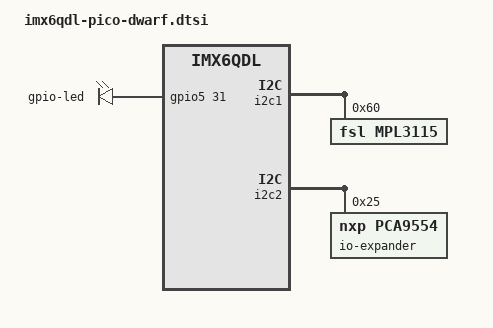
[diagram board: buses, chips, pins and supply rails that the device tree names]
// SPDX-License-Identifier: GPL-2.0+ OR MIT
//
// Copyright 2017 NXP

#include "imx6qdl-pico.dtsi"

/ {
	leds {
		compatible = "gpio-leds";
		pinctrl-names = "default";
		pinctrl-0 = <&pinctrl_gpio_leds>;

		led {
			label = "gpio-led";
			gpios = <&gpio5 31 GPIO_ACTIVE_HIGH>;
		};
	};

};

&i2c1 {
	mpl3115@60 {
		compatible = "fsl,mpl3115";
		reg = <0x60>;
	};
};

&i2c2 {
	io-expander@25 {
		compatible = "nxp,pca9554";
		reg = <0x25>;
		gpio-controller;
		#gpio-cells = <2>;
		#interrupt-cells = <2>;
	};

};

&iomuxc {
	pinctrl_gpio_leds: gpioledsgrp {
		fsl,pins = <
			MX6QDL_PAD_CSI0_DAT13__GPIO5_IO31	0x1b0b0
		>;
	};
};
